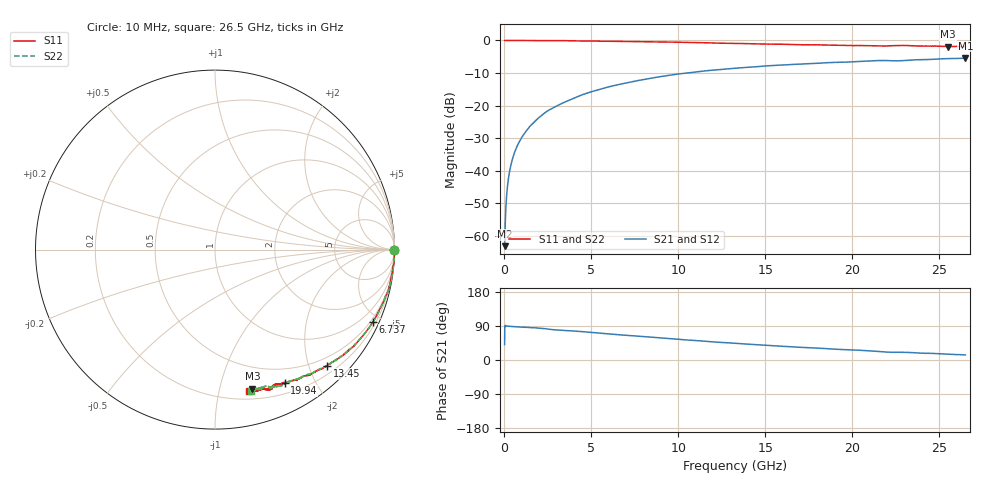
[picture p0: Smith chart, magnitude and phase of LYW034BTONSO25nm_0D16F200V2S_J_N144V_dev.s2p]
!Keysight Technologies,N5222B,MY61253708,A.15.00.15
!Date: Wednesday, June 19, 2024 10:06:37
!Correction: S11(C  2-Port  )
!S21(C  2-Port  )
!S12(C  2-Port  )
!S22(C  2-Port  )
!S2P File: Measurements: S11, S21, S12, S22:
# Hz S  RI  R 50
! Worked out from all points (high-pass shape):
!   2651 points, 10 MHz to 26.5 GHz, reference 50 ohm
!   highest |S21| = -5.41 dB at 26.5 GHz (marker M1); lowest = -63.2 dB at 20 MHz (marker M2)
!   |S21| within 3 dB of the highest: 13.57 GHz to end of sweep
!   lowest |S11| = -1.9 dB at 25.5 GHz (marker M3), VSWR 9.14, Z = 14.5 - j63.1 ohm
!   |S11| at or under -10 dB: nowhere
!   |S22| runs from -1.9 to 0.0 dB; largest |S21 - S12| = 0.006
!   S11 on the Smith chart (normalised r, x): 10 MHz: open; 6.737 GHz: 0.36, -4.58; 13.45 GHz: 0.34, -2.31; 19.94 GHz: 0.32, -1.60; 26.5 GHz: 0.27, -1.23
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1e7  0.9984 -0.00301  0.000597 0.000515  -3.77e-05 0.000421  0.9985 -0.00171
1.999623e7  1 -0.0029  7.6e-06 0.000691  7.82e-05 0.000616  1 -0.00269
8.996981e7  1 -0.00572  3.06e-06 0.00295  2.09e-05 0.00296  0.9996 -0.00547
1.699396e8  0.9999 -0.0116  6.54e-05 0.00558  7.13e-05 0.0056  0.9997 -0.011
2.199208e8  1 -0.0148  0.000123 0.00722  9.88e-05 0.00723  0.9994 -0.0141
2.798981e8  1 -0.0188  0.000165 0.00916  0.000191 0.00918  0.9997 -0.0182
3.898566e8  0.9996 -0.0264  0.000344 0.0128  0.000336 0.0128  0.9994 -0.0254
5.298038e8  0.9989 -0.0348  0.000573 0.0173  0.000548 0.0174  0.999 -0.0344
8.896679e8  0.9979 -0.0586  0.00164 0.0289  0.00164 0.029  0.9972 -0.0577
1.489442e9  0.9908 -0.0987  0.00393 0.0487  0.00396 0.0488  0.9936 -0.0958
2.359113e9  0.9824 -0.1522  0.0101 0.078  0.0103 0.0783  0.9835 -0.1524
3.248777e9  0.9712 -0.2072  0.021 0.1041  0.0212 0.1045  0.9714 -0.2083
4.428332e9  0.9439 -0.2779  0.0375 0.1401  0.0379 0.1408  0.9454 -0.2755
6.73746e9  0.8808 -0.4014  0.0874 0.1968  0.0885 0.1973  0.8819 -0.401
8.846664e9  0.8071 -0.4989  0.1425 0.2352  0.1438 0.2355  0.8082 -0.4978
1.3255e10  0.6331 -0.64  0.2687 0.2605  0.2705 0.26  0.6359 -0.6389
1.345492e10  0.6252 -0.6475  0.2743 0.2605  0.2761 0.2592  0.626 -0.6439
1.767333e10  0.4625 -0.7213  0.375 0.2341  0.3778 0.2322  0.4715 -0.7188
1.994248e10  0.3884 -0.7436  0.4192 0.2101  0.421 0.2077  0.401 -0.7398
2.209166e10  0.3273 -0.7559  0.4582 0.1731  0.4594 0.1699  0.3197 -0.7617
2.550038e10  0.2079 -0.7754  0.508 0.1374  0.5088 0.1365  0.2271 -0.7772
2.65e10  0.1882 -0.7891  0.5214 0.1258  0.5205 0.122  0.2008 -0.7869
